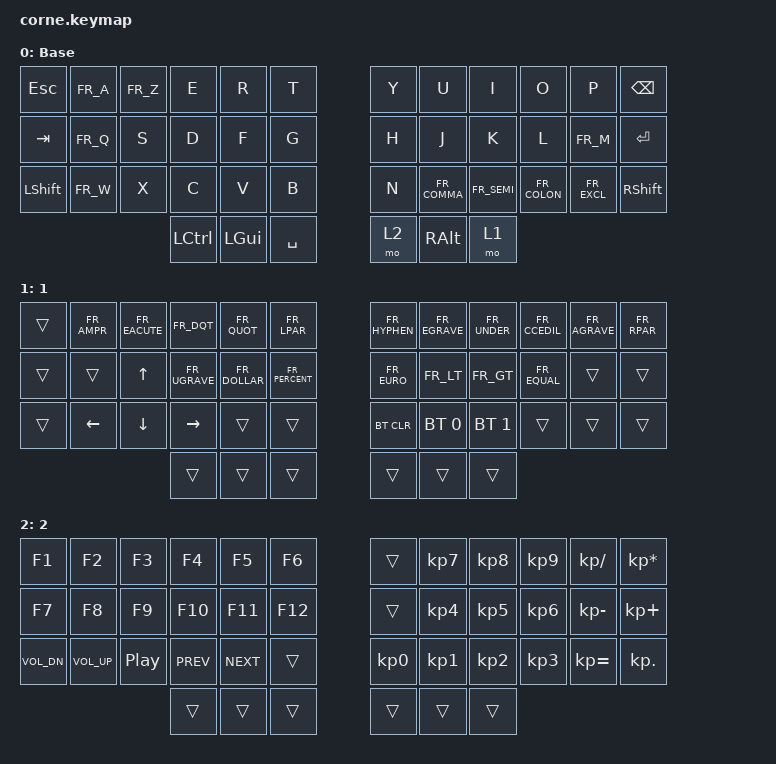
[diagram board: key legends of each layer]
/*
 * Copyright (c) 2020 The ZMK Contributors
 *
 * SPDX-License-Identifier: MIT
 */

#include <behaviors.dtsi>
#include <dt-bindings/zmk/bt.h>
#include <dt-bindings/zmk/keys.h>
#include "keys_fr.h"

/ {
    keymap {
        compatible = "zmk,keymap";

        default_layer {
            // AZERTY français porté tel quel sur le Corne, coupé en deux moitiés.
            // Les FR_xxx viennent de keys_fr.h : chaque nom = le caractère
            // français qui sera réellement tapé (l'OS doit être en AZERTY).
            // -----------------------------------------------------------------------------------------
            // | ECHAP |  A  |  Z  |  E  |  R  |  T  |   |  Y  |  U  |  I  |  O  |  P  | BKSP  |
            // | TAB   |  Q  |  S  |  D  |  F  |  G  |   |  H  |  J  |  K  |  L  |  M  | ENTREE|
            // | MAJ.G |  W  |  X  |  C  |  V  |  B  |   |  N  |  ,  |  ;  |  :  |  !  | MAJ.D |
            //                      | CTRL| WIN | ESPACE|   |  2  | ALT |  1   |
            // Avec Maj : , devient ?, ; devient ., : devient /, ! devient §
            // (comme sur un vrai clavier AZERTY), rien à configurer en plus.

            display-name = "Base";
            bindings = <
&kp ESCAPE  &kp FR_A  &kp FR_Z  &kp E      &kp R     &kp T        &kp Y  &kp U          &kp I           &kp O          &kp P         &kp BACKSPACE
&kp TAB     &kp FR_Q  &kp S     &kp D      &kp F     &kp G        &kp H  &kp J          &kp K           &kp L          &kp FR_M      &kp RET
&kp LSHFT   &kp FR_W  &kp X     &kp C      &kp V     &kp B        &kp N  &kp FR_COMMA   &kp FR_SEMI     &kp FR_COLON   &kp FR_EXCL   &kp RSHFT
                                 &kp LCTRL  &kp LGUI  &kp SPACE    &mo 2  &kp RALT       &mo 1
            >;
        };

        merged_layer {
            // Couche 1 = chiffres/accents + symboles AltGr fusionnés sur la
            // même rangée, avec 3 niveaux par touche comme un vrai clavier
            // AZERTY :
            //   - rien              -> accent (& é " ' ( - è _ ç à ))
            //   - + Maj (physique)  -> chiffre (1234567890)
            //   - + AltGr (physique, touche juste à côté sur le pouce droit)
            //     -> symbole de code (~ # { [ | ` \ ^ @ ] })
            // Les 3 modificateurs sont de vraies touches HID, ZMK ne fait que
            // les transmettre : rien à coder de plus pour que ça marche.
            // -----------------------------------------------------------------------------------------
            // |      |  &  |  é  |  "  |  '  |  (  |   |  -  |  è  |  _  |  ç  |  à  |  )   |
            // (Maj)  |  1  |  2  |  3  |  4  |  5  |   |  6  |  7  |  8  |  9  |  0  |      |
            // (AltGr)|  ~  |  #  |  {  |  [  |  |  |   |  `  |  \  |  ^  |  @  |  ]  |  }   |
            // |      | HAUT|  ù  |  $  |  %  |     |   |  €  |  <  |  >  |  =  |     |      |
            // |      |GCHE | BAS |DRTE |     |     |   |BTCLR|BT0  |BT1  |     |     |      |
            //                    | CTRL|     | ESPACE|  |  2  |     |      |
            // Flèches sur S (haut) / W X C (gauche bas droite, en T inversé).
            // Bluetooth réduit à 2 profils (BT_CLR + BT_SEL 0/1) : suffisant
            // pour 2 appareils appairés max.

            display-name = "1";
            bindings = <
&trans  &kp FR_AMPR  &kp FR_EACUTE  &kp FR_DQT    &kp FR_QUOT   &kp FR_LPAR    &kp FR_HYPHEN  &kp FR_EGRAVE  &kp FR_UNDER  &kp FR_CCEDIL  &kp FR_AGRAVE  &kp FR_RPAR
&trans  &trans       &kp UP         &kp FR_UGRAVE &kp FR_DOLLAR &kp FR_PERCENT &kp FR_EURO    &kp FR_LT      &kp FR_GT     &kp FR_EQUAL   &trans         &trans
&trans  &kp LEFT     &kp DOWN       &kp RIGHT     &trans        &trans         &bt BT_CLR     &bt BT_SEL 0   &bt BT_SEL 1  &trans         &trans         &trans
                                    &trans        &trans        &trans         &trans         &trans        &trans
            >;
        };

        nav_layer {
            // Clavier gauche = F1-F12 + contrôles média. Clavier droit =
            // pavé numérique. Les touches KP_xxx sont un vrai pavé
            // numérique matériel : elles tapent toujours un chiffre quel que
            // soit le layout clavier réglé sur l'ordinateur.
            // -----------------------------------------------------------------------------------------
            // |  F1 |  F2 |  F3 |  F4 |  F5 |  F6 |   |     |  7  |  8  |  9  |  /  |  *   |
            // |  F7 |  F8 |  F9 | F10 | F11 | F12 |   |     |  4  |  5  |  6  |  -  |  +   |
            // |VOL- |VOL+ | ⏯  | ⏮  | ⏭  |     |   |  0  |  1  |  2  |  3  |  =  |  .   |
            // Le * ci-dessus est le vrai astérisque ASCII (touche pavé
            // numérique), pas le symbole × — important si tu codes.

            display-name = "2";
            bindings = <
&kp F1        &kp F2        &kp F3    &kp F4      &kp F5      &kp F6             &trans  &kp KP_N7  &kp KP_N8  &kp KP_N9  &kp KP_SLASH  &kp KP_MULTIPLY
&kp F7        &kp F8        &kp F9    &kp F10     &kp F11     &kp F12            &trans  &kp KP_N4  &kp KP_N5  &kp KP_N6  &kp KP_MINUS  &kp KP_PLUS
&kp C_VOL_DN  &kp C_VOL_UP  &kp C_PP  &kp C_PREV  &kp C_NEXT  &trans             &kp KP_N0  &kp KP_N1  &kp KP_N2  &kp KP_N3  &kp KP_EQUAL  &kp KP_DOT
                                      &trans      &trans      &trans             &trans  &trans      &trans
            >;
        };
    };
};
